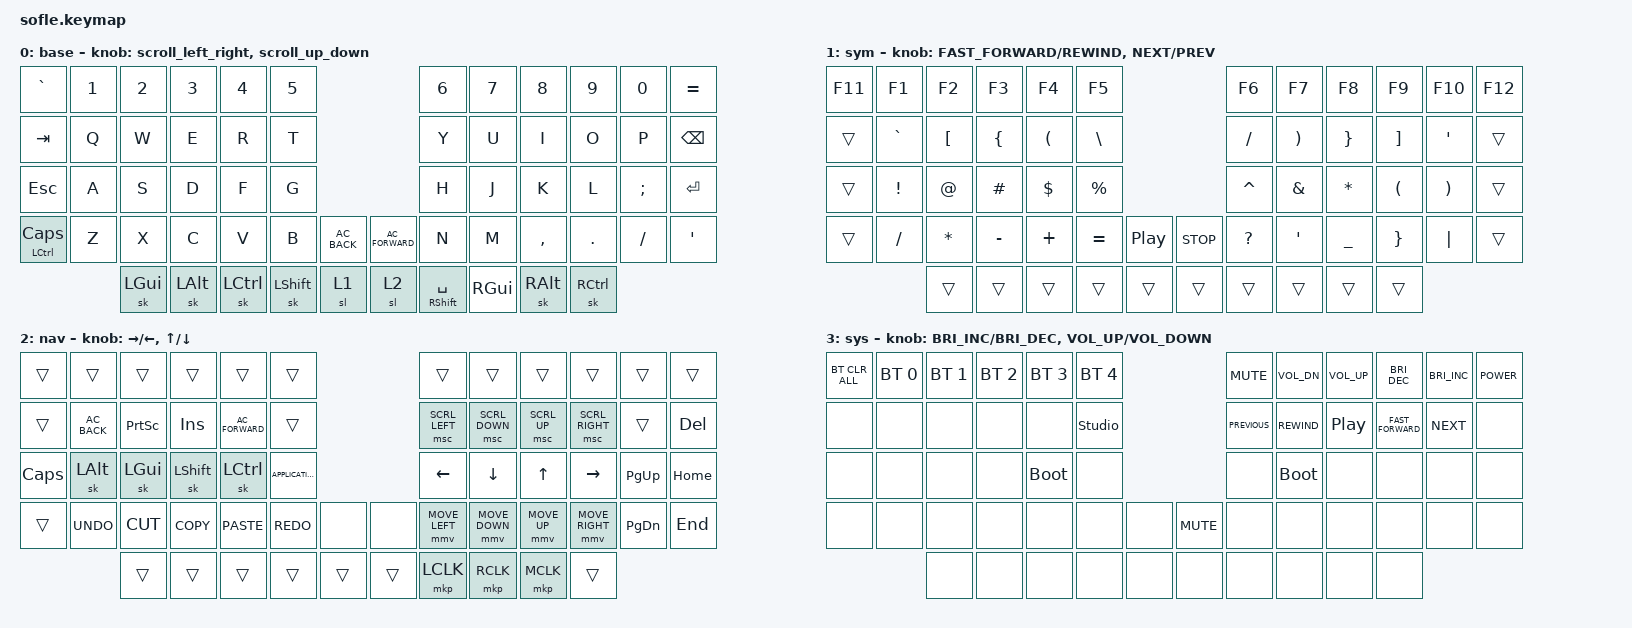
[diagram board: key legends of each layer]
/*
* Copyright (c) 2020 The ZMK Contributors
*
* SPDX-License-Identifier: MIT
*/

#define ZMK_MOUSE_SCRL_VAL 150

#include <behaviors.dtsi>
#include <dt-bindings/zmk/bt.h>
#include <dt-bindings/zmk/keys.h>
#include <dt-bindings/zmk/pointing.h>

// Encoders

&sensors {
    left_config { triggers-per-rotation = <20>; };

    right_config { triggers-per-rotation = <20>; };
};

#define BASE 0
#define LOWER 1
#define RAISE 2
#define ADJUST 3

/ {
    // Activate ADJUST layer by pressing raise and lower

    conditional_layers {
        compatible = "zmk,conditional-layers";

        adjust_layer {
            if-layers = <1 2>;
            then-layer = <3>;
        };
    };

    combos {
        compatible = "zmk,combos";

        escape {
            bindings = <&kp ESCAPE>;
            key-positions = <32 31>;
            layers = <0>;
        };
    };

    behaviors {
        mt: mod_tap {
            compatible = "zmk,behavior-hold-tap";
            #binding-cells = <2>;
            flavor = "balanced";
            tapping-term-ms = <200>;
            bindings = <&kp>, <&kp>;

            display-name = "Mod-Tap";
        };

        scroll_up_down: scroll_up_down {
            compatible = "zmk,behavior-sensor-rotate";
            #sensor-binding-cells = <0>;
            bindings = <&msc SCRL_UP>, <&msc SCRL_DOWN>;

            tap-ms = <150>;
        };

        scroll_left_right: scroll_left_right {
            compatible = "zmk,behavior-sensor-rotate";
            #sensor-binding-cells = <0>;
            bindings = <&msc SCRL_LEFT>, <&msc SCRL_RIGHT>;

            tap-ms = <150>;
        };
    };

    keymap {
        compatible = "zmk,keymap";

        default_layer {
            display-name = "base";
            bindings = <
&kp GRAVE           &kp N1  &kp N2    &kp N3    &kp N4     &kp N5                                             &kp N6                 &kp N7    &kp N8         &kp N9     &kp N0    &kp EQUAL
&kp TAB             &kp Q   &kp W     &kp E     &kp R      &kp T                                              &kp Y                  &kp U     &kp I          &kp O      &kp P     &kp BACKSPACE
&kp ESC             &kp A   &kp S     &kp D     &kp F      &kp G                                              &kp H                  &kp J     &kp K          &kp L      &kp SEMI  &kp ENTER
&mt LCTRL CAPSLOCK  &kp Z   &kp X     &kp C     &kp V      &kp B           &kp C_AC_BACK    &kp C_AC_FORWARD  &kp N                  &kp M     &kp COMMA      &kp DOT    &kp FSLH  &kp APOS
                            &sk LGUI  &sk LALT  &sk LCTRL  &sk LEFT_SHIFT  &sl 1            &sl 2             &mt RIGHT_SHIFT SPACE  &kp RGUI  &sk RIGHT_ALT  &sk RCTRL
            >;

            sensor-bindings = <&scroll_left_right>, <&scroll_up_down>;
        };

        lower_layer {
            display-name = "sym";
            bindings = <
&kp F11  &kp F1     &kp F2            &kp F3          &kp F4                &kp F5                                         &kp F6        &kp F7                 &kp F8           &kp F9                &kp F10                &kp F12
&trans   &kp GRAVE  &kp LEFT_BRACKET  &kp LEFT_BRACE  &kp LEFT_PARENTHESIS  &kp BACKSLASH                                  &kp SLASH     &kp RIGHT_PARENTHESIS  &kp RIGHT_BRACE  &kp RIGHT_BRACKET     &kp SINGLE_QUOTE       &trans
&trans   &kp EXCL   &kp AT            &kp HASH        &kp DLLR              &kp PRCNT                                      &kp CARET     &kp AMPERSAND          &kp ASTRK        &kp LEFT_PARENTHESIS  &kp RIGHT_PARENTHESIS  &trans
&trans   &kp SLASH  &kp ASTRK         &kp MINUS       &kp PLUS              &kp EQUAL      &kp C_PLAY_PAUSE    &kp C_STOP  &kp QUESTION  &kp SINGLE_QUOTE       &kp UNDERSCORE   &kp RIGHT_BRACE       &kp PIPE               &trans
                    &trans            &trans          &trans                &trans         &trans              &trans      &trans        &trans                 &trans           &trans
            >;

            sensor-bindings =
                <&inc_dec_kp C_FAST_FORWARD C_REWIND>,
                <&inc_dec_kp C_NEXT C_PREV>;
        };

        raise_layer {
            display-name = "nav";
            bindings = <
&trans    &trans         &trans        &trans      &trans            &trans                               &trans          &trans          &trans        &trans           &trans         &trans
&trans    &kp C_AC_BACK  &kp PSCRN     &kp INSERT  &kp C_AC_FORWARD  &trans                               &msc SCRL_LEFT  &msc SCRL_DOWN  &msc SCRL_UP  &msc SCRL_RIGHT  &trans         &kp DELETE
&kp CAPS  &sk LALT       &sk LEFT_GUI  &sk LSHFT   &sk LCTRL         &kp K_APPLICATION                    &kp LEFT        &kp DOWN        &kp UP        &kp RIGHT        &kp PAGE_UP    &kp HOME
&trans    &kp K_UNDO     &kp K_CUT     &kp K_COPY  &kp K_PASTE       &kp K_REDO         &none     &none   &mmv MOVE_LEFT  &mmv MOVE_DOWN  &mmv MOVE_UP  &mmv MOVE_RIGHT  &kp PAGE_DOWN  &kp END
                         &trans        &trans      &trans            &trans             &trans    &trans  &mkp LCLK       &mkp RCLK       &mkp MCLK     &trans
            >;

            sensor-bindings = <&inc_dec_kp RIGHT LEFT>, <&inc_dec_kp UP DOWN>;
        };

        adjust_layer {
            display-name = "sys";
            bindings = <
&bt BT_CLR_ALL  &bt BT_SEL 0  &bt BT_SEL 1  &bt BT_SEL 2  &bt BT_SEL 3  &bt BT_SEL 4                         &kp C_MUTE      &kp C_VOL_DN  &kp C_VOLUME_UP   &kp C_BRIGHTNESS_DEC  &kp C_BRIGHTNESS_INC  &kp C_POWER
&none           &none         &none         &none         &none         &studio_unlock                       &kp C_PREVIOUS  &kp C_REWIND  &kp C_PLAY_PAUSE  &kp C_FAST_FORWARD    &kp C_NEXT            &none
&none           &none         &none         &none         &bootloader   &none                                &none           &bootloader   &none             &none                 &none                 &none
&none           &none         &none         &none         &none         &none           &none    &kp C_MUTE  &none           &none         &none             &none                 &none                 &none
                              &none         &none         &none         &none           &none    &none       &none           &none         &none             &none
            >;

            sensor-bindings =
                <&inc_dec_kp C_BRIGHTNESS_INC C_BRIGHTNESS_DEC>,
                <&inc_dec_kp C_VOLUME_UP C_VOLUME_DOWN>;
        };
    };
};
